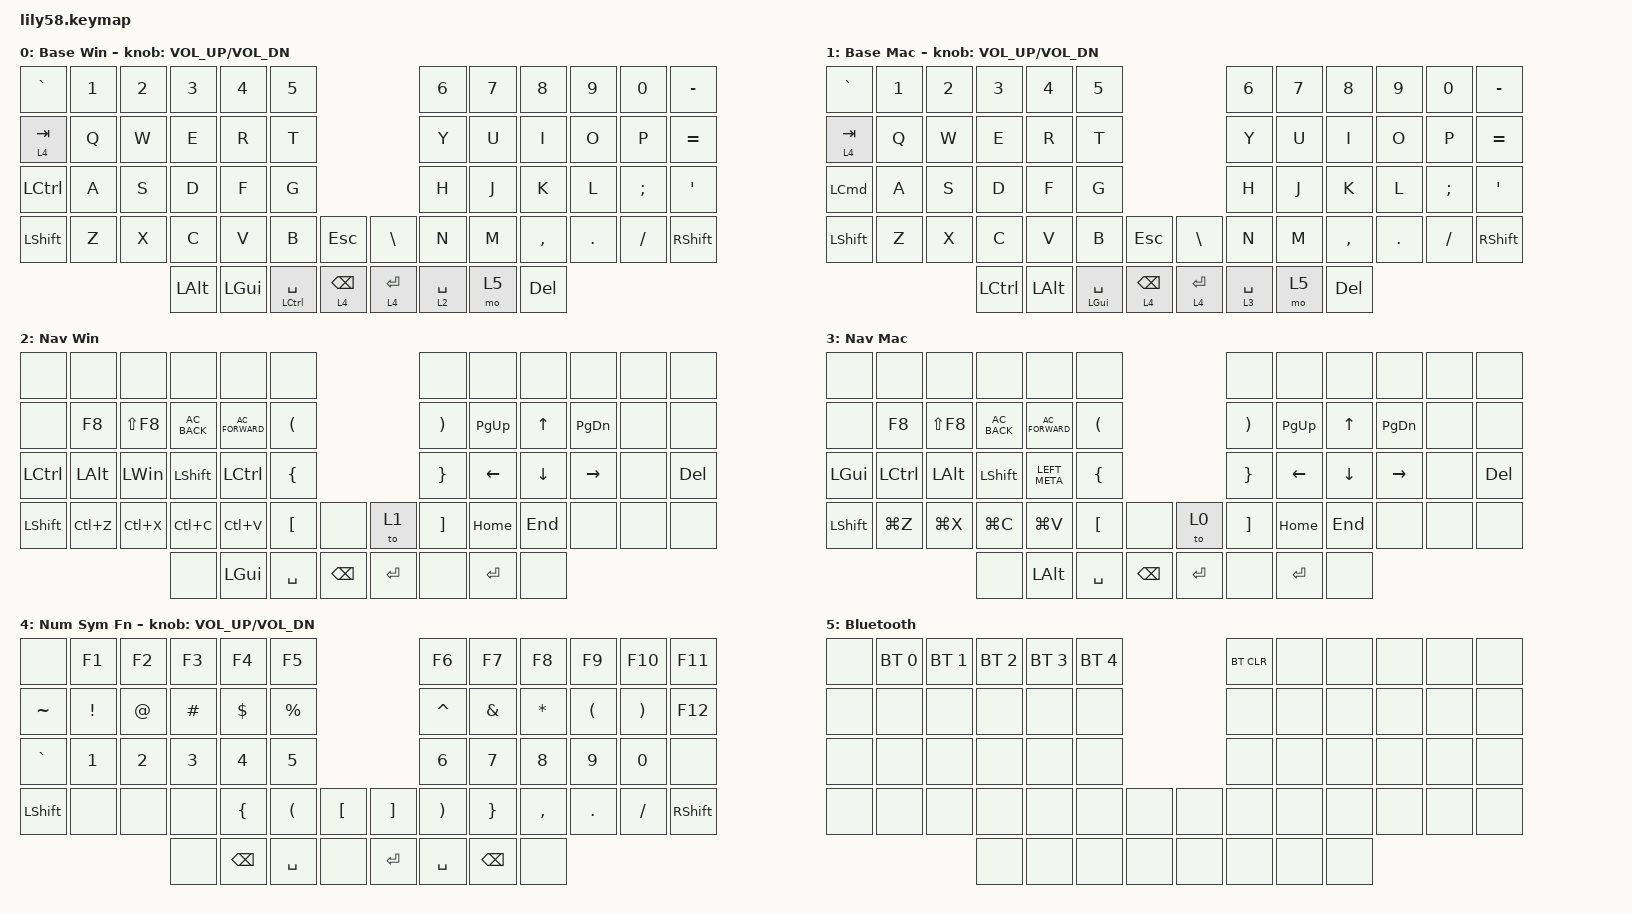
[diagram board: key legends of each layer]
/*
 * Copyright (c) 2020 The ZMK Contributors
 *
 * SPDX-License-Identifier: MIT
 */

#include <behaviors.dtsi>
#include <dt-bindings/zmk/bt.h>
#include <dt-bindings/zmk/keys.h>

/ {
    keymap {
        compatible = "zmk,keymap";

        Main-Win {
            display-name = "Base Win";
            bindings = <
&kp GRAVE  &kp N1  &kp N2  &kp N3    &kp N4    &kp N5                                             &kp N6       &kp N7  &kp N8      &kp N9   &kp N0    &kp MINUS
&lt 4 TAB  &kp Q   &kp W   &kp E     &kp R     &kp T                                              &kp Y        &kp U   &kp I       &kp O    &kp P     &kp EQUAL
&kp LCTRL  &kp A   &kp S   &kp D     &kp F     &kp G                                              &kp H        &kp J   &kp K       &kp L    &kp SEMI  &kp SQT
&kp LSHFT  &kp Z   &kp X   &kp C     &kp V     &kp B            &kp ESCAPE         &kp BACKSLASH  &kp N        &kp M   &kp COMMA   &kp DOT  &kp FSLH  &kp RIGHT_SHIFT
                           &kp LALT  &kp LGUI  &mt LCTRL SPACE  &lt 4 BACKSPACE    &lt 4 ENTER    &lt 2 SPACE  &mo 5   &kp DELETE
            >;

            sensor-bindings = <&inc_dec_kp C_VOL_UP C_VOL_DN>;
        };

        Main-Mac {
            display-name = "Base Mac";
            bindings = <
&kp GRAVE  &kp N1  &kp N2  &kp N3     &kp N4        &kp N5                                            &kp N6       &kp N7  &kp N8      &kp N9   &kp N0    &kp MINUS
&lt 4 TAB  &kp Q   &kp W   &kp E      &kp R         &kp T                                             &kp Y        &kp U   &kp I       &kp O    &kp P     &kp EQUAL
&kp LCMD   &kp A   &kp S   &kp D      &kp F         &kp G                                             &kp H        &kp J   &kp K       &kp L    &kp SEMI  &kp SQT
&kp LSHFT  &kp Z   &kp X   &kp C      &kp V         &kp B           &kp ESCAPE         &kp BACKSLASH  &kp N        &kp M   &kp COMMA   &kp DOT  &kp FSLH  &kp RIGHT_SHIFT
                           &kp LCTRL  &kp LEFT_ALT  &mt LGUI SPACE  &lt 4 BACKSPACE    &lt 4 ENTER    &lt 3 SPACE  &mo 5   &kp DELETE
            >;

            sensor-bindings = <&inc_dec_kp C_VOL_UP C_VOL_DN>;
        };

        Nav-Win {
            display-name = "Nav Win";
            bindings = <
&none       &none         &none         &none           &none             &none                                        &none                  &none        &none         &none          &none  &none
&none       &kp F8        &kp LS(F8)    &kp C_AC_BACK   &kp C_AC_FORWARD  &kp LEFT_PARENTHESIS                         &kp RIGHT_PARENTHESIS  &kp PAGE_UP  &kp UP_ARROW  &kp PAGE_DOWN  &none  &none
&kp LCTRL   &kp LEFT_ALT  &kp LEFT_WIN  &kp LEFT_SHIFT  &kp LCTRL         &kp LEFT_BRACE                               &kp RIGHT_BRACE        &kp LEFT     &kp DOWN      &kp RIGHT      &none  &kp DEL
&kp LSHIFT  &kp LC(Z)     &kp LC(X)     &kp LC(C)       &kp LC(V)         &kp LEFT_BRACKET      &none       &to 1      &kp RIGHT_BRACKET      &kp HOME     &kp END       &none          &none  &none
                                        &none           &kp LGUI          &kp SPACE             &kp BSPC    &kp ENTER  &none                  &kp ENTER    &none
            >;
        };

        Nav-Mac {
            display-name = "Nav Mac";
            bindings = <
&none         &none      &none         &none           &none             &none                                        &none                  &none        &none         &none          &none  &none
&none         &kp F8     &kp LS(F8)    &kp C_AC_BACK   &kp C_AC_FORWARD  &kp LEFT_PARENTHESIS                         &kp RIGHT_PARENTHESIS  &kp PAGE_UP  &kp UP_ARROW  &kp PAGE_DOWN  &none  &none
&kp LEFT_GUI  &kp LCTRL  &kp LEFT_ALT  &kp LEFT_SHIFT  &kp LEFT_META     &kp LEFT_BRACE                               &kp RIGHT_BRACE        &kp LEFT     &kp DOWN      &kp RIGHT      &none  &kp DEL
&kp LSHIFT    &kp LG(Z)  &kp LG(X)     &kp LG(C)       &kp LG(V)         &kp LEFT_BRACKET      &none       &to 0      &kp RIGHT_BRACKET      &kp HOME     &kp END       &none          &none  &none
                                       &none           &kp LEFT_ALT      &kp SPACE             &kp BSPC    &kp ENTER  &none                  &kp ENTER    &none
            >;
        };

        num-sym-func {
            display-name = "Num Sym Fn";
            bindings = <
&none      &kp F1           &kp F2  &kp F3    &kp F4          &kp F5                                                       &kp F6                 &kp F7           &kp F8        &kp F9                &kp F10                &kp F11
&kp TILDE  &kp EXCLAMATION  &kp AT  &kp HASH  &kp DOLLAR      &kp PERCENT                                                  &kp CARET              &kp AMPERSAND    &kp ASTERISK  &kp LEFT_PARENTHESIS  &kp RIGHT_PARENTHESIS  &kp F12
&kp GRAVE  &kp N1           &kp N2  &kp N3    &kp N4          &kp N5                                                       &kp N6                 &kp N7           &kp N8        &kp N9                &kp N0                 &none
&kp LSHFT  &none            &none   &none     &kp LEFT_BRACE  &kp LEFT_PARENTHESIS  &kp LEFT_BRACKET    &kp RIGHT_BRACKET  &kp RIGHT_PARENTHESIS  &kp RIGHT_BRACE  &kp COMMA     &kp DOT               &kp SLASH              &kp RSHFT
                                    &none     &kp BSPC        &kp SPACE             &none               &kp ENTER          &kp SPACE              &kp BSPC         &none
            >;

            sensor-bindings = <&inc_dec_kp C_VOL_UP C_VOL_DN>;
        };

        Bluetooth {
            display-name = "Bluetooth";
            bindings = <
&none  &bt BT_SEL 0  &bt BT_SEL 1  &bt BT_SEL 2  &bt BT_SEL 3  &bt BT_SEL 4                  &bt BT_CLR  &none  &none  &none  &none  &none
&none  &none         &none         &none         &none         &none                         &none       &none  &none  &none  &none  &none
&none  &none         &none         &none         &none         &none                         &none       &none  &none  &none  &none  &none
&none  &none         &none         &none         &none         &none         &none    &none  &none       &none  &none  &none  &none  &none
                                   &none         &none         &none         &none    &none  &none       &none  &none
            >;
        };
    };
};
